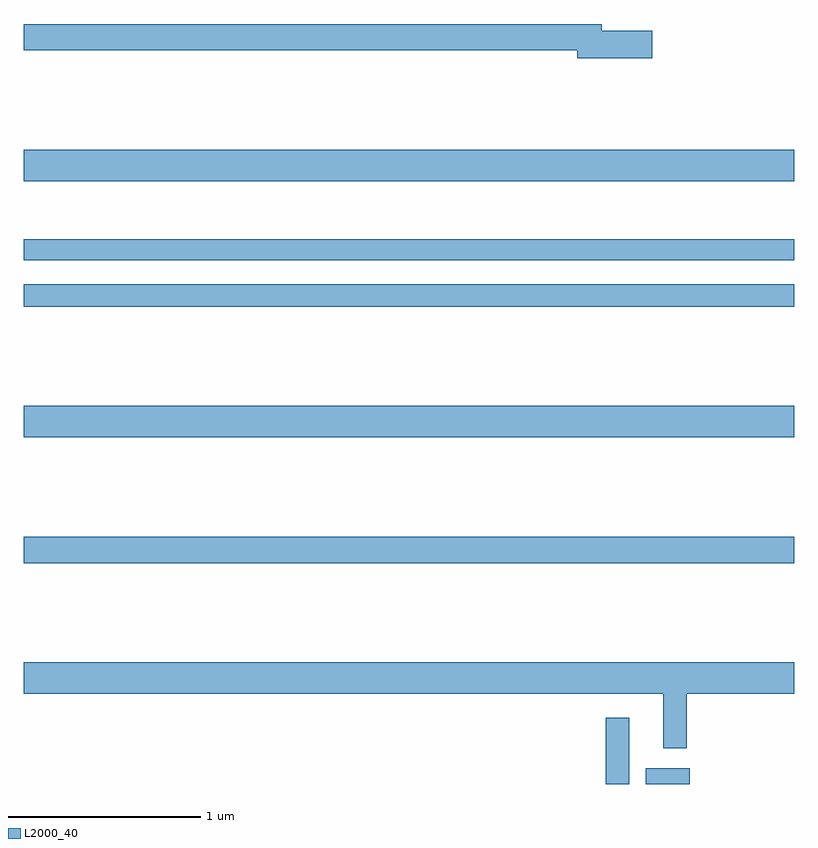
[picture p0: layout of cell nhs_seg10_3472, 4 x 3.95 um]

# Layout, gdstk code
import gdstk
lib = gdstk.Library(unit=1e-6, precision=1e-09)
def R(c, l, rs):  # rectangles x0, y0, x1, y1
    for r in rs: c.add(gdstk.rectangle(r[:2], r[2:], *l))
def P(c, l, *ps):  # polygons
    for p in ps: c.add(gdstk.Polygon(p, *l))
L2000_40 = (2000, 40)

nhs_seg10_3472 = lib.new_cell('nhs_seg10_3472')
R(nhs_seg10_3472, L2000_40, [(302.022,1314.5,302.143,1314.844), (302.231,1314.5,302.458,1314.583), (299,1315.648,303,1315.784), (299,1316.3,303,1316.464), (299,1316.98,303,1317.096), (299,1317.222,303,1317.331), (299,1317.632,303,1317.796)])
P(nhs_seg10_3472, L2000_40, [(302.263,1318.412),(302.002,1318.412),(302.002,1318.448),(299,1318.448),(299,1318.312),(301.874,1318.312),(301.874,1318.27),(302.263,1318.27)],
  [(302.443,1314.968),(303,1314.968),(303,1315.132),(299,1315.132),(299,1314.968),(302.321,1314.968),(302.321,1314.687),(302.443,1314.687)])

lib.write_gds('nhs_seg10_3472.gds')
